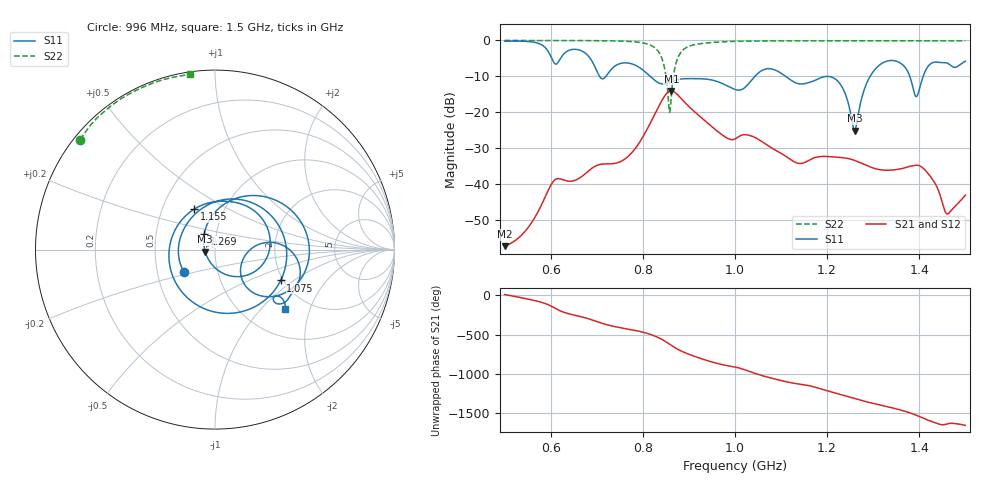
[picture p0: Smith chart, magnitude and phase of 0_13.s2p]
! TOUCHSTONE file generated by CST MICROWAVE STUDIO
! Date and time: Sat Oct 24 10:43:11 2020
! Project name: Scenario_1_Planar_Body_Tissue_Center.cst
! Parameters = {hfat=3; hmuscle=50; hskin=1.5; hgap=25; Wtissue=700; Ltissue=700; L_HA=400; MT=2.54; Rad_Dielectric=30; Rad_Lower=7.3; Rad_Upper=30; a_HA=580; a_WG=246; b_HA=500; b_WG=121; c_HA=0; c_WG=187; d_feed=85; dx1=380.84; h_feed=15; h_lower=18; h_upper=40}
! Header version: 2018
! Port assignment regex: !\s*Touchstone port\s*([0-9]+)\s*=\s*(CST MWS port|CST DS port)\s*([0-9]+|Zmin|Zmax)\s*\(\"(.*)\"\)(\s*mode\s*([0-9]+))?.*
! Touchstone port assignment:
! Touchstone port 1 = CST MWS port 1 ("")
! Touchstone port 2 = CST MWS port 2 ("")
# GHz S DB R 50
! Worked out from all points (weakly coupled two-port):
!   1003 points, 500 MHz to 1.5 GHz, reference 50 ohm
!   highest |S21| = -14.06 dB at 862 MHz (marker M1); lowest = -57.2 dB at 500 MHz (marker M2)
!   lowest |S11| = -25.1 dB at 1.26 GHz (marker M3), VSWR 1.12, Z = 44.8 - j1.12 ohm
!   |S11| at or under -10 dB: 815.9 MHz to 1.043 GHz (227.2 MHz wide, 24.4 % of centre); 1.11 GHz to 1.293 GHz (183.3 MHz wide, 15.3 % of centre); 1.379 GHz to 1.408 GHz (29 MHz wide, 2.08 % of centre) (the widest 3 of 4)
!   |S22| runs from -20.0 to 0.0 dB; largest |S21 - S12| = 5e-05
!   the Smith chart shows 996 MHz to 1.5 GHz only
!   S11 on the Smith chart (normalised r, x): 996 MHz: 0.69, -0.18; 1.075 GHz: 1.94, -0.80; 1.155 GHz: 0.72, +0.35; 1.269 GHz: 0.87, +0.15; 1.5 GHz: 1.54, -1.38
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0.5  -0.21 -121.3  -57.24 9.7  -57.24 9.7  -0.01 151.1
0.667  -2.90 132.3  -37.90 86.0  -37.90 86.0  -0.04 138.4
0.701  -8.73 25.8  -34.72 25.0  -34.72 25.0  -0.07 134.7
0.723  -9.43 -100.1  -34.36 -15.3  -34.36 -15.3  -0.10 131.9
0.751  -6.42 175.6  -33.73 -51.5  -33.73 -51.5  -0.18 127.3
0.788  -7.18 96.0  -29.28 -91.8  -29.28 -91.8  -0.46 117.7
0.834  -11.78 -29.1  -18.48 -178.7  -18.48 -178.7  -3.14 84.5
0.862  -11.46 -136.9  -14.06 82.9  -14.06 82.9  -15.07 -110.1
0.894  -10.64 117.1  -17.64 -15.7  -17.64 -15.7  -2.01 172.2
0.943  -10.85 0.5  -23.25 -115.2  -23.25 -115.2  -0.65 150.4
0.996  -13.43 -144.3  -27.58 173.6  -27.58 173.6  -0.27 140.8
1  -13.63 -159.0  -27.41 169.6  -27.41 169.6  -0.26 140.2
1.041  -10.30 67.0  -26.87 92.6  -26.87 92.6  -0.17 135.4
1.075  -7.86 -25.2  -29.58 33.4  -29.58 33.4  -0.14 131.9
1.155  -11.92 117.5  -33.72 -61.4  -33.72 -61.3  -0.10 125.2
1.167  -11.44 88.5  -32.90 -77.2  -32.90 -77.2  -0.10 124.2
1.26  -25.08 -167.1  -33.40 126.4  -33.40 126.4  -0.09 117.1
1.269  -19.50 124.3  -33.86 111.5  -33.86 111.5  -0.09 116.4
1.334  -5.64 5.9  -36.11 20.1  -36.11 20.1  -0.09 111.6
1.393  -15.65 -23.5  -34.74 -82.7  -34.74 -82.7  -0.09 106.9
1.46  -6.29 -37.7  -48.24 165.8  -48.24 165.8  -0.12 101.5
1.5  -5.79 -40.2  -43.02 146.1  -43.02 146.1  -0.12 98.0
